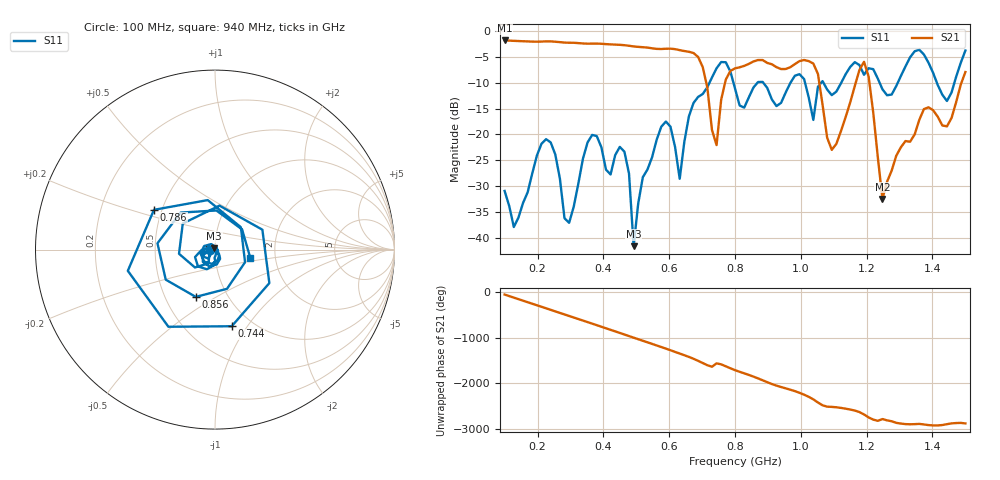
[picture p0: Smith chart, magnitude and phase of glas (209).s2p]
! NanoVNA-App
! Date: 2025-09-25 15:57:06
! Start: 100MHz Stop: 1,5GHz Points: 101
! S-Parameter data: F S11 S21 S12 S22
# Hz S RI R 50
!  Frequency  S11_Real  S11_Imag  S21_Real  S21_Imag  S12_Real  S12_Imag  S22_Real  S22_Imag
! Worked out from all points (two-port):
!   101 points, 100 MHz to 1.5 GHz, reference 50 ohm
!   highest |S21| = -1.80 dB at 100 MHz (marker M1); lowest = -32.5 dB at 1.248 GHz (marker M2)
!   |S21| within 3 dB of the highest: start of sweep to 684.3 MHz
!   lowest |S11| = -41.7 dB at 492 MHz (marker M3), VSWR 1.02, Z = 49.5 + j0.618 ohm
!   |S11| at or under -10 dB: start of sweep to 722.4 MHz; 795.3 MHz to 868.1 MHz (72.8 MHz wide, 8.75 % of centre); 886.1 MHz to 968.5 MHz (82.46 MHz wide, 8.89 % of centre) (the widest 3 of 7)
!   S12 and S22 are empty: the file has one direction only
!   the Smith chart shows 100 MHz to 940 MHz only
!   S11 on the Smith chart (normalised r, x): 100 MHz: 0.95, -0.01; 744 MHz: 0.80, -0.85; 786 MHz: 0.45, +0.24; 856 MHz: 0.71, -0.41; 940 MHz: 1.48, -0.14
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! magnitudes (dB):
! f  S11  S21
! 100 MHz  -31.0  -1.8
! 128 MHz  -37.9  -1.9
! 226 MHz  -20.9  -2.0
! 296 MHz  -37.1  -2.2
! 338 MHz  -24.7  -2.4
! 464 MHz  -23.3  -2.7
! 492 MHz  -41.7  -3.0
! 576 MHz  -18.5  -3.5
! 632 MHz  -28.6  -3.7
! 702 MHz  -12.2  -7.0
! 744 MHz  -7.2  -22.1
! 786 MHz  -7.8  -7.7
! 800 MHz  -11.1  -7.2
! 856 MHz  -10.9  -5.9
! 940 MHz  -13.9  -7.3
! 1.038 GHz  -17.2  -6.3
! 1.094 GHz  -12.4  -23.0
! 1.192 GHz  -8.4  -5.9
! 1.248 GHz  -11.3  -32.5
! 1.276 GHz  -12.3  -27.0
! 1.444 GHz  -13.5  -18.4
! 1.5 GHz  -3.8  -7.9
